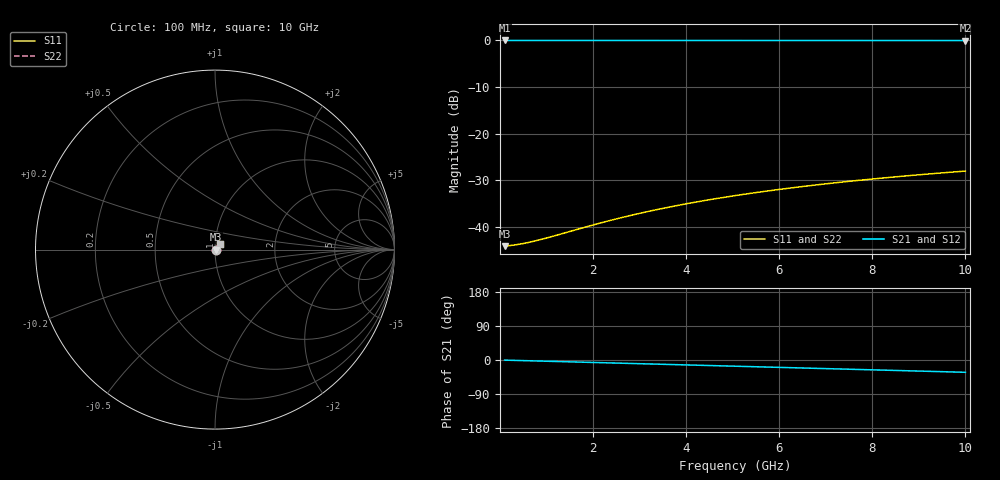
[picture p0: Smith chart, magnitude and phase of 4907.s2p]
# Hz S RI R 50.00
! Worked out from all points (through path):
!   100 points, 100 MHz to 10 GHz, reference 50 ohm
!   highest |S21| = -0.05 dB at 100 MHz (marker M1); lowest = -0.1 dB at 10 GHz (marker M2)
!   group delay of S21, straight-line fit = 9.02 ps
!   lowest |S11| = -44.1 dB at 100 MHz (marker M3), VSWR 1.01, Z = 50.6 + j0.0386 ohm
!   |S11| at or under -10 dB: start of sweep to end of sweep
!   |S22| runs from -44.1 to -28.0 dB; largest |S21 - S12| = 0
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1e8  0.00623 0.000381  0.9937 -0.00562  0.9937 -0.00562  0.00623 0.000381
3e8  0.00632 0.00114  0.9935 -0.0169  0.9935 -0.0169  0.00632 0.00114
4e8  0.00636 0.00152  0.9934 -0.0225  0.9934 -0.0225  0.00636 0.00152
5e8  0.0064 0.0019  0.9932 -0.0281  0.9932 -0.0281  0.0064 0.0019
7e8  0.00648 0.00266  0.9928 -0.0394  0.9928 -0.0394  0.00648 0.00266
9e8  0.00658 0.00341  0.9923 -0.0506  0.9923 -0.0506  0.00658 0.00341
1.1e9  0.00669 0.00417  0.9916 -0.0618  0.9916 -0.0618  0.00669 0.00417
1.8e9  0.00719 0.00678  0.9883 -0.101  0.9883 -0.101  0.00719 0.00678
2.2e9  0.00757 0.00825  0.9857 -0.1234  0.9857 -0.1234  0.00757 0.00825
2.6e9  0.00801 0.0097  0.9826 -0.1456  0.9826 -0.1456  0.00801 0.0097
3e9  0.00852 0.0111  0.9789 -0.1678  0.9789 -0.1678  0.00852 0.0111
3.4e9  0.00909 0.0125  0.9748 -0.19  0.9748 -0.19  0.00909 0.0125
3.8e9  0.00972 0.0139  0.9702 -0.212  0.9702 -0.212  0.00972 0.0139
4.2e9  0.0104 0.0153  0.9651 -0.2339  0.9651 -0.2339  0.0104 0.0153
4.6e9  0.0112 0.0166  0.9595 -0.2557  0.9595 -0.2557  0.0112 0.0166
5.1e9  0.0122 0.0182  0.9518 -0.2827  0.9518 -0.2827  0.0122 0.0182
5.9e9  0.0141 0.0206  0.9379 -0.3255  0.9379 -0.3255  0.0141 0.0206
6.7e9  0.0161 0.0228  0.922 -0.3676  0.922 -0.3676  0.0161 0.0228
7.5e9  0.0184 0.0248  0.9043 -0.409  0.9043 -0.409  0.0184 0.0248
8.4e9  0.0211 0.0268  0.8821 -0.4545  0.8821 -0.4545  0.0211 0.0268
9.2e9  0.0237 0.0283  0.8604 -0.4939  0.8604 -0.4939  0.0237 0.0283
1e10  0.0265 0.0296  0.837 -0.5324  0.837 -0.5324  0.0265 0.0296
